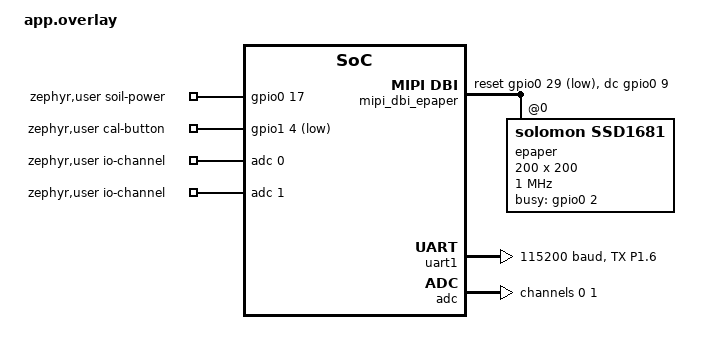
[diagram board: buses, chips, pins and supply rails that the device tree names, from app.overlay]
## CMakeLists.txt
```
# SPDX-License-Identifier: Apache-2.0

cmake_minimum_required(VERSION 3.20.0)
find_package(Zephyr REQUIRED HINTS $ENV{ZEPHYR_BASE})
project(HappyPot)

# Generated LVGL image arrays use a guarded include block that falls back to
# "lvgl/lvgl.h" unless one of LV_LVGL_H_INCLUDE_* is defined. Pick SIMPLE so
# they resolve to plain "lvgl.h", which Zephyr's LVGL module exposes.
zephyr_compile_definitions(LV_LVGL_H_INCLUDE_SIMPLE)

target_sources(app PRIVATE
	src/main.cpp
	src/calibration.cpp
	src/display_ui.cpp
	src/soil.cpp
	src/battery.cpp
	src/bthome_adv.cpp
	# Vendored SSD16XX display driver with PM support.
	# See src/drivers/README.md. Paired with CONFIG_SSD16XX=n.
	src/drivers/ssd16xx.c
	# Generated 1-bit LVGL image arrays. Regenerate with tools/svg_to_lvgl.py.
	src/ui_images/boot.c
	src/ui_images/cal_done.c
	src/ui_images/cal_dry.c
	src/ui_images/cal_reset.c
	src/ui_images/cal_wet.c
	src/ui_images/lowbat.c
	src/ui_images/s0_happy.c
	src/ui_images/s0_meh.c
	src/ui_images/s0_thirsty.c
	src/ui_images/s1_happy.c
	src/ui_images/s1_meh.c
	src/ui_images/s1_thirsty.c
)

# Header-only BTHome v2 payload builder (git submodule).
target_include_directories(app PRIVATE lib/bthome-cpp/src)
```

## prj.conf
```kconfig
CONFIG_GPIO=y
CONFIG_ADC=y

# Low-power UART logging mode:
# - keep UART log output
# - disable console/shell paths
# - immediate mode avoids periodic log-thread wakeups in sleep
CONFIG_SERIAL=y
CONFIG_BOARD_SERIAL_BACKEND_CDC_ACM=n
CONFIG_CONSOLE=y
CONFIG_UART_CONSOLE=y
CONFIG_SHELL=n
CONFIG_LOG=y
CONFIG_PRINTK=n
CONFIG_LOG_BACKEND_UART=y
CONFIG_LOG_MODE_IMMEDIATE=y
CONFIG_LOG_PROCESS_THREAD=n
CONFIG_USE_SEGGER_RTT=n
CONFIG_RTT_CONSOLE=n
CONFIG_LOG_BACKEND_RTT=n
CONFIG_BUILD_OUTPUT_UF2=y
CONFIG_BUILD_OUTPUT_UF2_FAMILY_ID="0xada52840"

CONFIG_CPP=y
CONFIG_STD_CPP17=y

# --- Step 2: e-paper display ---
# Note: regulator-boot-on is OFF in app.overlay, so the 3V3 rail stays down
# until we explicitly enable it. We still need REGULATOR for that API.
CONFIG_REGULATOR=y
CONFIG_REGULATOR_FIXED=y

# Device-level power management — lets us suspend the SSD1681 and SAADC
# between operations.
CONFIG_PM_DEVICE=y

CONFIG_SPI=y
CONFIG_MIPI_DBI=y
CONFIG_DISPLAY=y
# Use the vendored SSD16XX driver in src/drivers/ instead of the in-tree one
# (the project's copy adds PM_DEVICE / deep-sleep support).
CONFIG_SSD16XX=n

# --- LVGL ---
CONFIG_LVGL=y
CONFIG_LV_COLOR_DEPTH_1=y
CONFIG_LV_Z_BITS_PER_PIXEL=1
CONFIG_LV_Z_COLOR_MONO_HW_INVERSION=y
# SSD1681 only does full panel refresh; render the whole framebuffer every flush.
CONFIG_LV_Z_FULL_REFRESH=y
CONFIG_LV_Z_VDB_SIZE=100
CONFIG_LV_Z_MEM_POOL_SIZE=8192
# LVGL is driven on demand: we call lv_refr_now() from display_ui.cpp only when
# a reading actually changes the screen. The workqueue runner is OFF because it
# self-reschedules at CONFIG_LV_DEF_REFR_PERIOD (33 ms) forever, waking the SoC
# ~30x/s even on a static panel. With it off, nothing schedules LVGL between
# readings so the CPU sleeps the full measurement interval. The panel is powered
# continuously (see app.overlay) and the SSD16XX driver gates its own booster
# per refresh, so no per-refresh PM bracketing is needed here.
CONFIG_LV_Z_AUTO_INIT=y
CONFIG_LV_Z_RUN_LVGL_ON_WORKQUEUE=n
# With the LVGL workqueue off, the full-screen render runs on whichever thread
# calls lv_refr_now(): main (ui_init splash) and the system workqueue (the
# measurement work -> ui_show_reading). A 200x200 mono render + Montserrat-40
# rasterization needs ~4 KB, so size both to match the old LVGL workqueue stack.
# (Default 1024 overflows -> MPU fault -> white panel + stuck SoC.)
CONFIG_MAIN_STACK_SIZE=4096
CONFIG_SYSTEM_WORKQUEUE_STACK_SIZE=4096
# Fonts used by display_ui.cpp.
CONFIG_LV_FONT_MONTSERRAT_16=y
CONFIG_LV_FONT_MONTSERRAT_40=y

CONFIG_HEAP_MEM_POOL_SIZE=24576

# --- Soil calibration NVS + reboot ---
CONFIG_FLASH=y
CONFIG_FLASH_MAP=y
CONFIG_NVS=y
CONFIG_REBOOT=y

# --- BLE / BTHome v2 broadcaster ---
CONFIG_BT=y
CONFIG_BT_BROADCASTER=y
CONFIG_BT_PERIPHERAL=n
CONFIG_BT_OBSERVER=n
CONFIG_BT_DEVICE_NAME="HappyPot"
# Extended advertising API (bt_le_ext_adv_*). We use it with legacy PDUs so the
# payload update (set_data) doesn't stall the SoC awake until the next event,
# the way legacy bt_le_adv_update_data does.
CONFIG_BT_EXT_ADV=y
```

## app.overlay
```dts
/**
 * Overlay für WeAct Studio 1.54" 200x200 E-Paper (SSD1681)
 * angeschlossen an SPI2 des ProMicro nRF52840.
 *
 * Pinbelegung (bewährt aus früherem Arduino-Setup):
 *   SCK=P1.11  MOSI=P1.13  CS=P0.10  DC=P0.09  RST=P0.29
 *   BUSY=P0.02  POWER_EN=P0.13
 *
 * P0.09/P0.10 sind im Board-File UART0 -> UART0 wird deaktiviert.
 *
 * Zusätzlich: Capacitive Soil Moisture Sensor v2.0
 *   AOUT=P0.31 (AIN7), VCC=3V3, GND=GND
 */

#include <zephyr/dt-bindings/adc/adc.h>
#include <zephyr/dt-bindings/adc/nrf-saadc.h>
#include <zephyr/dt-bindings/regulator/nrf5x.h>

/** UART0 deaktivieren, damit P0.09/P0.10 fürs Display frei sind */
&uart0 {
	status = "disabled";
};

&pinctrl {
	uart1_default_alt: uart1_default_alt {
		group1 {
			/* TX-only on P1.06; RX disconnected so P1.04 is free. */
			psels = <NRF_PSEL(UART_TX, 1, 6)>,
				<NRF_PSEL_DISCONNECTED(UART_RX)>;
		};
	};

	uart1_sleep_alt: uart1_sleep_alt {
		group1 {
			psels = <NRF_PSEL(UART_TX, 1, 6)>,
				<NRF_PSEL_DISCONNECTED(UART_RX)>;
			low-power-enable;
		};
	};
};

&uart1 {
	current-speed = <115200>;
	pinctrl-0 = <&uart1_default_alt>;
	pinctrl-1 = <&uart1_sleep_alt>;
	pinctrl-names = "default", "sleep";
	status = "okay";
};

&spi2_default {
	group1 {
		psels = <NRF_PSEL(SPIM_SCK, 1, 11)>,
			<NRF_PSEL(SPIM_MOSI, 1, 13)>;
	};
};

&spi2_sleep {
	group1 {
		psels = <NRF_PSEL(SPIM_SCK, 1, 11)>,
			<NRF_PSEL(SPIM_MOSI, 1, 13)>;
		low-power-enable;
	};
};

&spi2 {
	cs-gpios = <&gpio0 10 GPIO_ACTIVE_LOW>;
};

/**
 * nRF52840 Haupt-Regler REG1 in den DC/DC-Buck-Modus statt LDO. Spart vor allem
 * Strom bei aktiver CPU/Funk (Refresh, BLE-TX). Setzt voraus, dass die DCC-
 * Induktivität auf dem Board bestückt ist (bei ProMicro/nice!nano i.d.R. ja).
 * Falls nicht -> Brownout/Reset -> diese Override wieder entfernen.
 */
&reg1 {
	regulator-initial-mode = <NRF5X_REG_MODE_DCDC>;
};

/ {
	chosen {
		zephyr,display = &epaper;
		zephyr,console = &uart1;
	};

	mipi_dbi_epaper {
		compatible = "zephyr,mipi-dbi-spi";
		spi-dev = <&spi2>;
		dc-gpios = <&gpio0 9 GPIO_ACTIVE_HIGH>;
		reset-gpios = <&gpio0 29 GPIO_ACTIVE_LOW>;
		#address-cells = <1>;
		#size-cells = <0>;

		epaper: ssd1681@0 {
			compatible = "solomon,ssd1681";
			mipi-max-frequency = <1000000>;
			reg = <0>;
			width = <200>;
			height = <200>;
			rotation = <270>;
			busy-gpios = <&gpio0 2 GPIO_ACTIVE_HIGH>;
			tssv = <0x80>;

			/**
			 * Leere Profile -> Treiber nutzt die Waveform-Defaults
			 * aus dem OTP-Speicher des Panels (wie GxEPD2_154_D67).
			 * Damit bleibt der VBD-Rand (Register 0x3C) auf Default
			 * statt schwarz.
			 *
			 * partial-Knoten ist wieder da: Die Schiene bleibt immer
			 * an (siehe ext_3v3), der Controller behält seinen alten
			 * Frame -> Partial-Refresh (schnell, kein Flash) möglich.
			 */
			full {
			};

			partial {
			};
		};
	};

	zephyr,user {
		io-channels = <&adc 0>, <&adc 1>;
		/** Soil sensor VCC is fed directly from P0.17 so it is only
		 * powered while sampling (~5 mA otherwise continuous). */
		soil-power-gpios = <&gpio0 17 GPIO_ACTIVE_HIGH>;
		/** Calibration button: press with probe in air (dry), press again
		 *  with probe submerged (wet).  Adjust pin to match hardware. */
		cal-button-gpios = <&gpio1 4 (GPIO_ACTIVE_LOW | GPIO_PULL_UP)>;
	};
};

&adc {
	status = "okay";
	#address-cells = <1>;
	#size-cells = <0>;

	channel@0 {
		reg = <0>;
		zephyr,gain = "ADC_GAIN_1_5";
		zephyr,reference = "ADC_REF_INTERNAL";
		zephyr,acquisition-time = <ADC_ACQ_TIME(ADC_ACQ_TIME_MICROSECONDS, 10)>;
		zephyr,input-positive = <NRF_SAADC_AIN7>;
		zephyr,resolution = <12>;
	};

	channel@1 {
		reg = <1>;
		zephyr,gain = "ADC_GAIN_1_6";
		zephyr,reference = "ADC_REF_INTERNAL";
		zephyr,acquisition-time = <ADC_ACQ_TIME(ADC_ACQ_TIME_MICROSECONDS, 10)>;
		/* Measure raw battery rail through SAADC's internal VDDH/5 path. */
		zephyr,input-positive = <NRF_SAADC_VDDHDIV5>;
		zephyr,resolution = <12>;
	};
};
```

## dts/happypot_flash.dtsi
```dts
/*
 * The flash map, shared by both builds -- because both run on the same board, on top of the same
 * bootloader, and there is only one truth about where things live.
 *
 *   0x00000000  MBR                    4 KB   part of the nice!nano bootloader, already on the chip
 *   0x00001000  code                 940 KB   the application
 *   0x000EC000  storage               32 KB   NVS/settings (calibration; Matter fabrics)
 *   0x000F4000  UF2 bootloader        48 KB   RESERVED -- Adafruit nRF52 bootloader + its settings
 *
 * No MCUboot: a plain single image linked at 0x1000, which is exactly where the bootloader starts
 * an app when no SoftDevice is present -- and none is. (Do not be misled by the "s140" in the
 * bootloader's name: it probes for a SoftDevice at boot, finds none, and falls back to 0x1000.
 * The /uf2 board variant, which links at 0x26000 for an SD-based layout, does NOT boot here.)
 *
 * The board's own map is the reason this file exists. Zephyr's promicro_nrf52840 (plain) pulls in
 * nrf52840_partition.dtsi, which describes a board we do not have: an MCUboot pair that nothing
 * uses, and -- the dangerous one -- a storage_partition INSIDE the bootloader's 0xF4000+ region.
 * HappyPot's calibration NVS lived exactly there (partition manager placed it at 0xFA000), so
 * every calibration save wrote into bootloader flash. That failure is silent: the device keeps
 * booting (the MBR just skips the now-invalid bootloader), only the USB drive never comes back.
 *
 * So the stock nodes are deleted and replaced, and the bootloader's 48 KB are left as a hole no
 * partition claims. Bounding the image is the other half of the guard and lives in
 * conf/happypot_hw.conf (CONFIG_FLASH_LOAD_SIZE) -- keep the two in step.
 */

/delete-node/ &boot_partition;
/delete-node/ &slot0_partition;
/delete-node/ &slot1_partition;
/delete-node/ &storage_partition;

/ {
	chosen {
		zephyr,code-partition = &code_partition;
	};
};

&flash0 {
	partitions {
		code_partition: partition@1000 {
			compatible = "zephyr,mapped-partition";
			label = "code";
			reg = <0x00001000 0x000eb000>;
		};

		storage_partition: partition@ec000 {
			compatible = "zephyr,mapped-partition";
			label = "storage";
			reg = <0x000ec000 0x00008000>;
		};
	};
};
```

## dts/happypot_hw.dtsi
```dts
/*
 * HappyPot's hardware, shared by both builds: the BTHome firmware (apps/bthome/app.overlay) and
 * the Matter build (apps/matter/boards/promicro_nrf52840_nrf52840.overlay). One description, so
 * the two cannot drift apart.
 *
 *   Soil probe -> capacitive v2.0, AOUT=P0.31 (AIN7), VCC gated by P0.17 (powered only while
 *                 sampling: ~5 mA otherwise continuous, and permanent bias corrodes the probe)
 *   Battery    -> SAADC internal VDDH/5 path (no external divider)
 *   Button     -> P1.04 (active-low, internal pull-up)
 *   E-Paper    -> WeAct Studio 1.54" 200x200 (SSD1681)
 *                 SPI2: SCK=P1.11, MOSI=P1.13, CS=P0.10
 *                 DC=P0.09, RST=P0.29, BUSY=P0.02 (active-high), 3V3 rail enable=P0.13
 *   Console    -> uart1, TX-only on P1.06 (uart0 is disabled: its default pins P0.09/P0.10
 *                 are the display's DC/CS)
 */

#include <zephyr/dt-bindings/adc/adc.h>
#include <zephyr/dt-bindings/adc/nrf-saadc.h>
#include <zephyr/dt-bindings/gpio/gpio.h>
#include <zephyr/dt-bindings/input/input-event-codes.h>
#include <zephyr/dt-bindings/regulator/nrf5x.h>

/* Where things live in flash -- and, above all, where the bootloader lives so nothing lands on it. */
#include "happypot_flash.dtsi"

/* Disable uart0 so P0.09/P0.10 are free for the display. */
&uart0 {
	status = "disabled";
};

&pinctrl {
	uart1_default_alt: uart1_default_alt {
		group1 {
			/* TX-only on P1.06; RX disconnected so P1.04 is free for the button. */
			psels = <NRF_PSEL(UART_TX, 1, 6)>,
				<NRF_PSEL_DISCONNECTED(UART_RX)>;
		};
	};

	uart1_sleep_alt: uart1_sleep_alt {
		group1 {
			psels = <NRF_PSEL(UART_TX, 1, 6)>,
				<NRF_PSEL_DISCONNECTED(UART_RX)>;
			low-power-enable;
		};
	};
};

&uart1 {
	current-speed = <115200>;
	pinctrl-0 = <&uart1_default_alt>;
	pinctrl-1 = <&uart1_sleep_alt>;
	pinctrl-names = "default", "sleep";
	status = "okay";
};

/* Remap SPI2 to the e-paper wiring: SCK=P1.11, MOSI=P1.13 (write-only, no MISO). */
&spi2_default {
	group1 {
		psels = <NRF_PSEL(SPIM_SCK, 1, 11)>,
			<NRF_PSEL(SPIM_MOSI, 1, 13)>;
	};
};

&spi2_sleep {
	group1 {
		psels = <NRF_PSEL(SPIM_SCK, 1, 11)>,
			<NRF_PSEL(SPIM_MOSI, 1, 13)>;
		low-power-enable;
	};
};

&spi2 {
	cs-gpios = <&gpio0 10 GPIO_ACTIVE_LOW>;
};

/*
 * Enable the REG1 DC/DC buck (default is LDO). ~2x more efficient than the LDO at the mA-level
 * active currents (refresh, BLE TX). Requires the on-module DCC inductor to be populated --
 * standard on ProMicro/nice!nano clones; if a board browns out on boot, remove this override.
 */
&reg1 {
	regulator-initial-mode = <NRF5X_REG_MODE_DCDC>;
};

/ {
	chosen {
		zephyr,display = &epaper;
		zephyr,console = &uart1;
	};

	keys: buttons {
		compatible = "gpio-keys";

		button0: button_0 {
			/* P1.04, pressed = LOW, enable internal pull-up */
			gpios = <&gpio1 4 (GPIO_ACTIVE_LOW | GPIO_PULL_UP)>;
			label = "User button";
			zephyr,code = <INPUT_KEY_0>;
		};
	};

	/*
	 * Turn the one button's raw press/release into a tap/hold pair. The driver emits
	 * ENTER on a short press (on release) and MENU the moment the hold threshold passes
	 * (while still held) -- so button.cpp only has to map two codes, not time the press.
	 */
	longpress: longpress {
		compatible = "zephyr,input-longpress";
		input = <&keys>;
		input-codes = <INPUT_KEY_0>;
		short-codes = <INPUT_KEY_ENTER>;
		long-codes = <INPUT_KEY_MENU>;
		long-delay-ms = <700>;
	};

	/* Nothing we build reads sw0 -- button.cpp goes through the input subsystem. It is here
	 * because it is the conventional name for "the button", and because NCS's DK library (which
	 * the Matter build deliberately does not enable) looks for it. */
	aliases {
		sw0 = &button0;
	};

	mipi_dbi_epaper {
		compatible = "zephyr,mipi-dbi-spi";
		spi-dev = <&spi2>;
		dc-gpios = <&gpio0 9 GPIO_ACTIVE_HIGH>;
		reset-gpios = <&gpio0 29 GPIO_ACTIVE_LOW>;
		#address-cells = <1>;
		#size-cells = <0>;

		epaper: ssd1681@0 {
			compatible = "solomon,ssd1681";
			mipi-max-frequency = <1000000>;
			reg = <0>;
			width = <200>;
			height = <200>;
			rotation = <270>;
			busy-gpios = <&gpio0 2 GPIO_ACTIVE_HIGH>;
			tssv = <0x80>;

			/*
			 * Empty profiles -> the driver uses the waveform defaults from the panel's OTP
			 * (like GxEPD2_154_D67). That keeps the VBD border (register 0x3C) on its default
			 * instead of black.
			 *
			 * The partial node stays: the rail is always on, the controller keeps its old
			 * frame -> partial refresh (fast, no black flash) is possible.
			 */
			full {
			};

			partial {
			};
		};
	};

	zephyr,user {
		io-channels = <&adc 0>, <&adc 1>;
		/* Soil sensor VCC is fed directly from P0.17 so it is only powered while
		 * sampling (~5 mA otherwise continuous). */
		soil-power-gpios = <&gpio0 17 GPIO_ACTIVE_HIGH>;
	};
};

&adc {
	status = "okay";
	#address-cells = <1>;
	#size-cells = <0>;

	channel@0 {
		reg = <0>;
		zephyr,gain = "ADC_GAIN_1_5";
		zephyr,reference = "ADC_REF_INTERNAL";
		zephyr,acquisition-time = <ADC_ACQ_TIME(ADC_ACQ_TIME_MICROSECONDS, 10)>;
		zephyr,input-positive = <NRF_SAADC_AIN7>;
		zephyr,resolution = <12>;
	};

	channel@1 {
		reg = <1>;
		zephyr,gain = "ADC_GAIN_1_6";
		zephyr,reference = "ADC_REF_INTERNAL";
		zephyr,acquisition-time = <ADC_ACQ_TIME(ADC_ACQ_TIME_MICROSECONDS, 10)>;
		/* Measure the raw battery rail through SAADC's internal VDDH/5 path. */
		zephyr,input-positive = <NRF_SAADC_VDDHDIV5>;
		zephyr,resolution = <12>;
	};
};
```

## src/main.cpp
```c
#include <zephyr/kernel.h>
#include <zephyr/device.h>
#include <zephyr/drivers/gpio.h>
#include <zephyr/pm/device.h>
#include <zephyr/logging/log.h>

#include "app_config.h"
#include "battery.h"
#include "bthome_adv.h"
#include "calibration.h"
#include "display_ui.h"
#include "soil.h"

LOG_MODULE_REGISTER(app, LOG_LEVEL_INF);

namespace
{
    const adc_dt_spec soil0_adc  = ADC_DT_SPEC_GET(DT_PATH(zephyr_user));
    const adc_dt_spec battery_adc = ADC_DT_SPEC_GET_BY_IDX(DT_PATH(zephyr_user), 1);
    const gpio_dt_spec soil0_pwr = GPIO_DT_SPEC_GET(DT_PATH(zephyr_user), soil_power_gpios);
    const gpio_dt_spec cal_btn   = GPIO_DT_SPEC_GET(DT_PATH(zephyr_user), cal_button_gpios);
    const struct device *const log_uart = DEVICE_DT_GET(DT_NODELABEL(uart1));

    SoilSensor    soil(soil0_adc, soil0_pwr, cfg::SOIL_MV_DRY, cfg::SOIL_MV_WET);
    BatteryMonitor battery(battery_adc);

    void set_log_uart_sleep(bool sleep)
    {
        if (!device_is_ready(log_uart))
        {
            return;
        }
        const pm_device_action action = sleep ? PM_DEVICE_ACTION_SUSPEND
                                               : PM_DEVICE_ACTION_RESUME;
        (void)pm_device_action_run(log_uart, action);
    }

    void measurement_cycle(struct k_work *);
    K_WORK_DELAYABLE_DEFINE(measurement_work, measurement_cycle);

    void sample_and_publish()
    {
        SoilReading soil_reading;
        if (auto err = soil.sample(&soil_reading); err < 0)
        {
            LOG_ERR("soil sample failed (%d)", err);
            return;
        }

        BatteryReading battery_reading;
        if (auto err = battery.sample(&battery_reading); err < 0)
        {
            LOG_ERR("battery sample failed (%d)", err);
            return;
        }

        LOG_INF("soil %4d mV  ~%3d %% | batt %4d mV  ~%3d %%",
                soil_reading.mv,
                soil_reading.percent,
                battery_reading.mv,
                battery_reading.percent);
        if (battery_reading.percent <= cfg::LOW_BATTERY_PCT)
        {
            ui_show_low_battery(battery_reading.percent);
        }
        else
        {
            ui_show_reading(soil_reading.mv, soil_reading.percent);
        }
        bthome_publish(soil_reading.percent, soil_reading.mv,
                       battery_reading.mv, battery_reading.percent);
    }

    void measurement_cycle(struct k_work *)
    {
        set_log_uart_sleep(false);
        sample_and_publish();
        set_log_uart_sleep(true);
        k_work_reschedule(&measurement_work, cfg::MEASUREMENT_INTERVAL);
    }

} // namespace

int main()
{
    set_log_uart_sleep(false);
    LOG_INF("UART1 TX test active on P1.06 @115200");

    if (soil.init() < 0)
    {
        LOG_ERR("soil init failed");
        return 0;
    }
    if (battery.init() < 0)
    {
        LOG_ERR("battery init failed");
        return 0;
    }
    if (ui_init() < 0)
    {
        LOG_ERR("ui init failed");
        return 0;
    }
    if (bthome_init() < 0)
    {
        LOG_ERR("bthome init failed");
        return 0;
    }
    if (calib_init(soil, cal_btn, &measurement_work) < 0)
    {
        LOG_WRN("calib init failed — running without calibration button");
    }

    /** Let the boot splash finish rendering (~3 s for a full SSD1681
     * refresh) before the first sample replaces it. */
    k_work_schedule(&measurement_work, K_SECONDS(4));
    set_log_uart_sleep(true);
    return 0;
}
```

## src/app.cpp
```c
#include "app.hpp"

#include <zephyr/device.h>
#include <zephyr/devicetree.h>
#include <zephyr/kernel.h>
#include <zephyr/logging/log.h>
#include <zephyr/pm/device.h>

#include "app_config.hpp"
#include "input/button.hpp"
#include "menu.hpp"
#include "net.hpp"
#include "prefs.hpp"
#include "sensors/battery.hpp"
#include "sensors/soil.hpp"
#include "ui/display_ui.hpp"
#include "version.hpp"

LOG_MODULE_REGISTER(app, LOG_LEVEL_INF);

namespace
{
	const struct device *const log_uart = DEVICE_DT_GET(DT_NODELABEL(uart1));

	void set_log_uart_sleep(bool sleep)
	{
		if (!device_is_ready(log_uart))
		{
			return;
		}
		const pm_device_action action = sleep ? PM_DEVICE_ACTION_SUSPEND
											  : PM_DEVICE_ACTION_RESUME;
		(void)pm_device_action_run(log_uart, action);
	}

	/** Read both sensors, put the numbers on screen, tell the network.
	 *
	 * The low battery is a resting view of its own; the reading still goes out either way --
	 * this is a beacon device, and the battery level is part of what it beacons. */
	void measure()
	{
		net::Reading r{};
		if (auto err = soil::sample(&r.soil); err < 0)
		{
			LOG_ERR("soil sample failed (%d)", err);
			ui::set_error("PROBE ERROR", "soil read failed");
			return;
		}
		if (auto err = battery::sample(&r.battery); err < 0)
		{
			LOG_ERR("battery sample failed (%d)", err);
			ui::set_error("BATTERY ERROR", "ADC read failed");
			return;
		}

		LOG_INF("soil %4d mV  ~%3d %% | batt %4d mV  ~%3d %%",
				r.soil.mv, r.soil.percent, r.battery.mv, r.battery.percent);

		ui::set_battery(r.battery.percent); // the menu's corner readout
		if (r.battery.percent <= cfg::LOW_BATTERY_PCT)
		{
			ui::set_low_battery();
		}
		else
		{
			ui::show_sensor();
			ui::set_sensor(r.soil.mv, r.soil.percent);
		}

		net::publish_reading(r);
	}

	/** The main app loop.
	 * @param menu_active true when run() opened the boot onboarding screen
	 *                    (menu::enter_network()) -- the loop then starts inside the menu,
	 *                    exactly as if the user had opened it */
	void app_loop(bool menu_active)
	{
		int64_t next_measure = k_uptime_get(); // the first one is due at once
		button::Event e = button::Event::None;

		while (true)
		{
			const int64_t now = k_uptime_get();

			set_log_uart_sleep(false);

			if (menu_active)
			{
				const menu::Status status = menu::proceed(e);
				if (status != menu::Status::Running)
				{
					if (status == menu::Status::FactoryReset && net::can_factory_reset())
					{
						// Leaves the screen as it is: the reset reboots us, and a device that
						// is about to lose its network should not spend its last second
						// drawing.
						LOG_INF("[UI] factory reset");
						net::factory_reset();
					}
					else
					{
						ui::show_sensor();
					}
					menu_active = false;
					next_measure = now;
				}
			}
			else if (e == button::Event::Long)
			{
				menu_active = true;
				menu::enter();
			}
			else if (now >= next_measure)
			{
				measure();
				next_measure = now + cfg::MEASUREMENT_MS;
			}

			// The one place the panel is committed. It paints only when a *displayed* value
			// changed -- the setters dedup on what the screen actually shows -- so most passes
			// end here without touching the e-paper. A refresh costs ~3 mAs.
			ui::refresh();

			// Whichever mode we are in has exactly one deadline. A deadline already in the
			// past makes the wait return at once, which is how leaving the menu gets its
			// reading without a second code path; the iteration that follows always pushes
			// next_measure, so this cannot spin.
			const int64_t wake_at = menu_active ? menu::deadline_ms() : next_measure;

			set_log_uart_sleep(true);
			e = button::wait_until(wake_at);

			if (e != button::Event::None)
			{
				set_log_uart_sleep(false);
				LOG_INF("[BTN] %s", (e == button::Event::Long) ? "hold" : "tap");
			}
		}
	}

} // namespace

void app::run(const char *build_name)
{
	set_log_uart_sleep(false);

	// What the panel needs. What the MENU offers is decided elsewhere -- it asks
	// net::has_radio() and net::can_factory_reset() -- because a row exists when there is
	// something behind it.
	const net::Radio *radio = net::radio();
	const ui::Config ui_cfg = {
		.build = build_name,
		.pair_qr = radio ? radio->pair_qr : nullptr,
		.pair_manual = radio ? radio->pair_manual : nullptr,
	};

	// Before the probe, because prefs only loads here. A store that will not come up is
	// survivable: getters answer the compile-time defaults and say so in the log.
	prefs::init();

	const bool display_ok = (ui::init(ui_cfg) == 0);

	LOG_INF("HappyPot v%s %s started (display %s)", HAPPYPOT_VERSION, build_name,
			display_ok ? "ok" : "FAILED");

	if (soil::init() < 0)
	{
		LOG_ERR("soil probe not ready");
		ui::set_error("PROBE ERROR", "soil probe not found");
		ui::refresh();
		k_sleep(K_FOREVER); // leave the error on screen
	}

	/* The stored calibration, put where it acts -- the first moment it can be, since the probe
	 * did not exist until now; the splash is still up, so nobody sees an uncalibrated reading. */
	prefs::apply_all();

	if (battery::init() < 0)
	{
		LOG_WRN("battery ADC not ready (continuing without it)");
	}
	if (button::init() < 0)
	{
		LOG_WRN("button not ready (continuing without it)");
	}
	ui::log_pool("boot splash"); // every view is built; this is the resident cost

	/* A device that has never joined anything boots straight into the pairing screen: the QR is
	 * the one thing a factory-new device is for, and the menu machinery already holds a screen
	 * without measuring. It leaves like any menu -- scanned or dismissed, on to the readings. */
	const bool show_code = net::has_radio() && net::radio()->pair_qr && !net::commissioned();
	if (show_code)
	{
		LOG_INF("[NET] not commissioned; the panel shows the onboarding code");
		menu::enter_network();
	}
	app_loop(show_code);
}
```

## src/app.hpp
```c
#pragma once

/** @file
 * The device: display, soil probe, battery, button and the loop tying them together.
 *
 * A module, not a main(): the BTHome firmware runs it as its only thread, the Matter build on a
 * thread of its own next to CHIP/OpenThread (apps/matter/src/app_task.cpp). Everything the loop
 * says to the world beyond the panel goes through net (net.hpp); a build that installs no hooks
 * there has no radio, and the loop never asks twice.
 *
 * The loop owns the panel: LVGL is not thread-safe, so nothing outside run()'s thread may touch
 * the UI. Other threads leave values where the loop picks them up (see net::set_link_up()).
 */
namespace app
{
	/** Bring up display, soil probe, battery and button, then run the device.
	 * @param build_name names this build on the splash and in the boot log -- the firmwares
	 *                   look alike everywhere else. Not copied. */
	void run(const char *build_name = "Standalone");
}
```

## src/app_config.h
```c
#pragma once

#include <zephyr/kernel.h>

namespace cfg
{
    /** Measurement interval. */
    constexpr k_timeout_t MEASUREMENT_INTERVAL = K_SECONDS(10);

    /** Rolling-average window. Smoothing horizon = WINDOW_SIZE * MEASUREMENT_INTERVAL. */
    constexpr int WINDOW_SIZE = 10;

    /** Capacitive soil probe calibration: measure DRY in air, WET submerged. */
    constexpr int32_t SOIL_MV_DRY = 2000;
    constexpr int32_t SOIL_MV_WET = 1500;

    /** Battery smoothing over the last N samples. */
    constexpr int BATTERY_WINDOW_SIZE = 6;

    /** Show dedicated low-battery warning screen at or below this percentage. */
    constexpr int LOW_BATTERY_PCT = 5;

    /** Mood thresholds. percent >= HAPPY_PCT -> happy; >= MEH_PCT -> meh;
     * below -> thirsty. */
    constexpr int MOOD_HAPPY_PCT = 60;
    constexpr int MOOD_MEH_PCT = 30;

    /** Firmware version, broadcast via BTHome (obj 0xF2, shown as MAJOR.MINOR.PATCH). */
    constexpr uint8_t FW_VERSION_MAJOR = 0;
    constexpr uint8_t FW_VERSION_MINOR = 1;
    constexpr uint8_t FW_VERSION_PATCH = 2;

} // namespace cfg
```

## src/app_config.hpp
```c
#pragma once

#include <stdint.h>

namespace cfg
{
    /** Measurement cadence, in milliseconds (the loop's TICK). */
    constexpr int64_t MEASUREMENT_MS = 10000;

    /** Rolling-average window. Smoothing horizon = WINDOW_SIZE * MEASUREMENT_MS. */
    constexpr int WINDOW_SIZE = 10;

    /** Capacitive soil probe calibration: measure DRY in air, WET submerged. */
    constexpr int32_t SOIL_MV_DRY = 2000;
    constexpr int32_t SOIL_MV_WET = 1500;

    /** Battery smoothing over the last N samples. */
    constexpr int BATTERY_WINDOW_SIZE = 6;

    /** Show dedicated low-battery warning screen at or below this percentage. */
    constexpr int LOW_BATTERY_PCT = 5;

    /** Mood thresholds. percent >= HAPPY_PCT -> happy; >= MEH_PCT -> meh;
     * below -> thirsty. */
    constexpr int MOOD_HAPPY_PCT = 60;
    constexpr int MOOD_MEH_PCT = 30;

    /* The firmware version lives in <repo>/VERSION -- see src/version.hpp. */

} // namespace cfg
```

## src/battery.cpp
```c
#include "battery.h"

#include <zephyr/logging/log.h>
#include <zephyr/pm/device.h>
#include <zephyr/sys/util.h>

LOG_MODULE_REGISTER(battery, LOG_LEVEL_INF);

namespace
{
	struct BatteryPoint
	{
		int32_t mv;
		int pct;
	};

	/** Typical single-cell Li-Ion open-circuit curve, piecewise-linearized. */
	constexpr BatteryPoint kCurve[] = {
		{3300, 0},
		{3600, 5},
		{3680, 10},
		{3740, 20},
		{3770, 30},
		{3790, 40},
		{3820, 50},
		{3870, 60},
		{3920, 70},
		{4000, 80},
		{4110, 90},
		{4200, 100},
	};
}

BatteryMonitor::BatteryMonitor(const adc_dt_spec &adc)
	: m_adc(adc)
{
}

int BatteryMonitor::init()
{
	if (!adc_is_ready_dt(&m_adc))
	{
		LOG_ERR("Battery ADC not ready");
		return -ENODEV;
	}

	const int err = adc_channel_setup_dt(&m_adc);
	if (err < 0)
	{
		LOG_ERR("Battery ADC channel setup failed (%d)", err);
		return err;
	}

	return 0;
}

int BatteryMonitor::read_raw_mv(int32_t *mv_out)
{
	pm_device_action_run(m_adc.dev, PM_DEVICE_ACTION_RESUME);

	int16_t raw = 0;
	adc_sequence seq{
		.buffer = &raw,
		.buffer_size = sizeof(raw),
	};
	int err = adc_sequence_init_dt(&m_adc, &seq);
	if (err == 0)
	{
		err = adc_read(m_adc.dev, &seq);
	}

	pm_device_action_run(m_adc.dev, PM_DEVICE_ACTION_SUSPEND);
	if (err < 0)
	{
		return err;
	}

	int32_t mv = raw;
	err = adc_raw_to_millivolts_dt(&m_adc, &mv);
	if (err < 0)
	{
		return err;
	}

	/* Internal SAADC channel provides VDDH/5, so scale back to cell voltage. */
	mv *= 5;

	*mv_out = mv;
	return 0;
}

int BatteryMonitor::mv_to_percent(int32_t mv) const
{
	if (mv <= kCurve[0].mv)
	{
		return 0;
	}
	if (mv >= kCurve[ARRAY_SIZE(kCurve) - 1].mv)
	{
		return 100;
	}

	for (size_t i = 1; i < ARRAY_SIZE(kCurve); ++i)
	{
		if (mv <= kCurve[i].mv)
		{
			const BatteryPoint lo = kCurve[i - 1];
			const BatteryPoint hi = kCurve[i];
			const int32_t num = (mv - lo.mv) * (hi.pct - lo.pct);
			const int32_t den = (hi.mv - lo.mv);
			return lo.pct + static_cast<int>(num / den);
		}
	}

	return 100;
}

int BatteryMonitor::sample(BatteryReading *out)
{
	int32_t mv = 0;
	if (const int err = read_raw_mv(&mv); err < 0)
	{
		return err;
	}

	const int32_t avg_mv = m_avg.push(mv);
	out->mv = avg_mv;
	out->percent = mv_to_percent(avg_mv);
	return 0;
}
```

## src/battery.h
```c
#pragma once

#include <stdint.h>
#include <zephyr/drivers/adc.h>

#include "app_config.h"
#include "rolling_average.h"

struct BatteryReading
{
	int32_t mv;
	int percent;
};

/** Battery monitor based on a dedicated ADC channel. */
class BatteryMonitor
{
public:
	explicit BatteryMonitor(const adc_dt_spec &adc);

	int init();
	int sample(BatteryReading *out);

private:
	int read_raw_mv(int32_t *mv_out);
	int mv_to_percent(int32_t mv) const;

	const adc_dt_spec &m_adc;
	RollingAverage<cfg::BATTERY_WINDOW_SIZE> m_avg;
};
```

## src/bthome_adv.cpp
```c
#include "bthome_adv.h"

#include <string.h>
#include <bthome.h> // bthome-cpp library (lib/bthome-cpp/src)
#include <zephyr/bluetooth/bluetooth.h>
#include <zephyr/kernel.h>
#include <zephyr/logging/log.h>

#include "app_config.h"

LOG_MODULE_REGISTER(bthome, LOG_LEVEL_INF);

namespace
{
	bt_le_ext_adv *adv = nullptr;
	uint8_t packet_counter = 0;

	const uint8_t flags = BT_LE_AD_GENERAL | BT_LE_AD_NO_BREDR;

	/** Advertising interval in 0.625 ms units. Only matters for the spacing
	 * within a multi-event burst; with num_events=1 a single event goes out. */
	constexpr uint16_t ADV_INTERVAL = 160;

	constexpr uint32_t FW_VERSION =
		(static_cast<uint32_t>(cfg::FW_VERSION_MAJOR) << 16) |
		(static_cast<uint32_t>(cfg::FW_VERSION_MINOR) << 8) |
		cfg::FW_VERSION_PATCH;

	/** Set the payload and emit exactly one advertising event (1 TX per primary
	 * channel), then the controller auto-stops. ext-adv set_data is non-blocking
	 * so the SoC sleeps right after the event. */
	int advertise_once(const bt_data *ad, size_t n)
	{
		int err = bt_le_ext_adv_set_data(adv, ad, n, nullptr, 0);
		if (err)
		{
			LOG_WRN("ext_adv_set_data failed (%d)", err);
			return err;
		}
		const bt_le_ext_adv_start_param start_param = {
			.timeout = 0,
			.num_events = 1,
		};
		err = bt_le_ext_adv_start(adv, &start_param);
		if (err)
		{
			LOG_WRN("ext_adv_start failed (%d)", err);
		}
		return err;
	}

} // namespace

int bthome_init(void)
{
	int err = bt_enable(nullptr);
	if (err)
	{
		LOG_ERR("bt_enable failed (%d)", err);
		return err;
	}

	/** Legacy PDU (no EXT_ADV opt) so phones/HA can read it, non-connectable,
	 * pinned to the stable identity address. */
	const bt_le_adv_param adv_param = BT_LE_ADV_PARAM_INIT(
		BT_LE_ADV_OPT_USE_IDENTITY,
		ADV_INTERVAL, ADV_INTERVAL, nullptr);
	err = bt_le_ext_adv_create(&adv_param, nullptr, &adv);
	if (err)
	{
		LOG_ERR("ext_adv_create failed (%d)", err);
		return err;
	}

	LOG_INF("BT ready, BTHome v2 broadcaster");
	return 0;
}

int bthome_publish(int moisture_percent, int32_t soil_mv, int32_t battery_mv, int battery_percent)
{
	if (moisture_percent < 0)
	{
		moisture_percent = 0;
	}
	if (moisture_percent > 100)
	{
		moisture_percent = 100;
	}
	if (battery_percent < 0)
	{
		battery_percent = 0;
	}
	if (battery_percent > 100)
	{
		battery_percent = 100;
	}

	++packet_counter;

	BTHomePacket<31> packet;
	packet.add(BTHome::packet_id(packet_counter));
	packet.add(BTHome::moisture(static_cast<float>(moisture_percent)));
	packet.add(BTHome::battery(battery_percent));
	/** Both voltages always go in the same packet so a single advert carries the
	 * full reading: voltage = battery (V), voltage_c1 = soil ADC (V). */
	packet.add(BTHome::voltage(battery_mv / 1000.0f));
	packet.add(BTHome::voltage(soil_mv / 1000.0f));

	const bt_data svc = BT_DATA(BT_DATA_SVC_DATA16, packet.serviceData(), static_cast<uint8_t>(packet.serviceDataSize()));
	const bt_data flags_ad = BT_DATA(BT_DATA_FLAGS, &flags, sizeof(flags));

	/** Alternate the extra field only: odd (1st, 3rd, ...) -> name (no fw),
	 * even -> fw (no name). The 31-byte legacy advert can't hold both extras
	 * on top of the always-present measurements. */
	const bool with_name = (packet_counter % 2) == 1;
	if (!with_name)
	{
		packet.add(BTHome::firmware_version_u24(FW_VERSION));
	}
	else
	{

		const char *name = bt_get_name();
		const bt_data ad[] = {
			flags_ad,
			svc,
			BT_DATA(BT_DATA_NAME_COMPLETE, name, static_cast<uint8_t>(strlen(name))),
		};
		return advertise_once(ad, ARRAY_SIZE(ad));
	}

	const bt_data ad[] = {flags_ad, svc};
	return advertise_once(ad, ARRAY_SIZE(ad));
}
```

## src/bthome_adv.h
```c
#pragma once

#include <stdint.h>

/** Bring up the BLE stack as a non-connectable broadcaster. Call once at boot
 * after the kernel is up. Returns 0 on success, negative errno otherwise. */
int bthome_init(void);

/** Build a BTHome v2 advertisement (packet ID + moisture + battery + voltages)
 * using the bthome-cpp library, broadcast it for a short window across all
 * three advertising channels, then stop. Blocks ~300 ms.
 */
int bthome_publish(int moisture_percent, int32_t soil_mv, int32_t battery_mv, int battery_percent);
```

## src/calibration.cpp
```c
#include "calibration.h"

#include <zephyr/drivers/flash.h>
#include <zephyr/drivers/gpio.h>
#include <zephyr/fs/nvs.h>
#include <zephyr/kernel.h>
#include <zephyr/logging/log.h>
#include <zephyr/pm/device.h>
#include <zephyr/storage/flash_map.h>
#include <zephyr/sys/reboot.h>

#include "app_config.h"
#include "display_ui.h"

LOG_MODULE_REGISTER(calib, LOG_LEVEL_INF);

// ---------------------------------------------------------------------------
// Module state — written once by calib_init, then read-only
// ---------------------------------------------------------------------------

static SoilSensor *s_soil = nullptr;
static const gpio_dt_spec *s_btn = nullptr;
static k_work_delayable *s_resume = nullptr;

static const struct device *const s_log_uart = DEVICE_DT_GET(DT_NODELABEL(uart1));

static void uart_wake()
{
    if (device_is_ready(s_log_uart))
        pm_device_action_run(s_log_uart, PM_DEVICE_ACTION_RESUME);
}

static void uart_sleep()
{
    if (device_is_ready(s_log_uart))
        pm_device_action_run(s_log_uart, PM_DEVICE_ACTION_SUSPEND);
}

// ---------------------------------------------------------------------------
// NVS
// ---------------------------------------------------------------------------

#define CALIB_NVS_ID_DRY 1
#define CALIB_NVS_ID_WET 2

static struct nvs_fs calib_fs;
static bool calib_fs_ready = false;

static void nvs_load()
{
    const struct device *dev = FIXED_PARTITION_DEVICE(storage_partition);
    if (!device_is_ready(dev))
    {
        LOG_WRN("flash not ready, using compile-time defaults");
        return;
    }

    struct flash_pages_info page;
    if (flash_get_page_info_by_offs(dev, FIXED_PARTITION_OFFSET(storage_partition),
                                    &page) < 0)
    {
        LOG_WRN("flash page query failed");
        return;
    }

    calib_fs.flash_device = dev;
    calib_fs.offset = FIXED_PARTITION_OFFSET(storage_partition);
    calib_fs.sector_size = page.size;
    calib_fs.sector_count = FIXED_PARTITION_SIZE(storage_partition) / page.size;

    if (nvs_mount(&calib_fs) < 0)
    {
        LOG_WRN("NVS mount failed, using compile-time defaults");
        return;
    }
    calib_fs_ready = true;

    int32_t dry = cfg::SOIL_MV_DRY;
    int32_t wet = cfg::SOIL_MV_WET;
    bool stored = false;
    if (nvs_read(&calib_fs, CALIB_NVS_ID_DRY, &dry, sizeof(dry)) == sizeof(dry))
    {
        stored = true;
    }
    if (nvs_read(&calib_fs, CALIB_NVS_ID_WET, &wet, sizeof(wet)) == sizeof(wet))
    {
        stored = true;
    }

    if (stored && dry != wet)
    {
        s_soil->set_calibration(dry, wet);
        LOG_INF("calibration loaded: dry=%d mV  wet=%d mV", dry, wet);
    }
    else if (stored)
    {
        LOG_WRN("invalid calibration in NVS (dry==wet=%d), clearing", dry);
        nvs_write(&calib_fs, CALIB_NVS_ID_DRY, &dry, 0);
        nvs_write(&calib_fs, CALIB_NVS_ID_WET, &wet, 0);
        LOG_INF("using defaults: dry=%d mV  wet=%d mV",
                cfg::SOIL_MV_DRY, cfg::SOIL_MV_WET);
    }
    else
    {
        LOG_INF("no stored calibration, using defaults: dry=%d mV  wet=%d mV",
                cfg::SOIL_MV_DRY, cfg::SOIL_MV_WET);
    }
}

static void nvs_save()
{
    if (!calib_fs_ready)
        return;
    int32_t dry = s_soil->dry_mv();
    int32_t wet = s_soil->wet_mv();
    nvs_write(&calib_fs, CALIB_NVS_ID_DRY, &dry, sizeof(dry));
    nvs_write(&calib_fs, CALIB_NVS_ID_WET, &wet, sizeof(wet));
}

// ---------------------------------------------------------------------------
// Calibration thread
// Hold 0.5–2 s  → WET   Hold 2–4 s → DRY
// Hold 4–6 s   → RESET  Hold 6 s+  → auto-cancel (returns to main)
// ---------------------------------------------------------------------------

constexpr int64_t CAL_MIN_HOLD_MS = 500;
constexpr int64_t CAL_PHASE_DRY_MS = 2000;
constexpr int64_t CAL_PHASE_RST_MS = 4000;
constexpr int64_t CAL_PHASE_CANCEL_MS = 6000;

enum class CalMode
{
    NONE,
    WET,
    DRY,
    RESET,
};

static K_SEM_DEFINE(s_ready, 0, 1);

static void calib_thread_fn(void *, void *, void *)
{
    k_sem_take(&s_ready, K_FOREVER);

    while (true)
    {
        // Wait for button press. gpio_pin_get_dt returns 1 when active (pressed).
        while (gpio_pin_get_dt(s_btn) == 0)
            k_msleep(20);

        int64_t t0 = k_uptime_get();
        CalMode phase = CalMode::NONE;

        k_work_cancel_delayable(s_resume);
        uart_wake();

        // Poll while held, updating display on each phase change.
        bool auto_cancelled = false;
        while (gpio_pin_get_dt(s_btn) != 0)
        {
            int64_t held = k_uptime_get() - t0;
            if (held >= CAL_PHASE_CANCEL_MS)
            {
                LOG_INF(">> auto-cancel");
                ui_exit_calibration();
                uart_sleep();
                k_work_reschedule(s_resume, K_NO_WAIT);
                while (gpio_pin_get_dt(s_btn) != 0)
                    k_msleep(20);
                auto_cancelled = true;
                break;
            }
            CalMode p = (held < CAL_MIN_HOLD_MS)    ? CalMode::NONE
                        : (held < CAL_PHASE_DRY_MS) ? CalMode::WET
                        : (held < CAL_PHASE_RST_MS) ? CalMode::DRY
                                                    : CalMode::RESET;
            if (p != phase)
            {
                phase = p;
                const char *lbl = (p == CalMode::WET)    ? "WET"
                                  : (p == CalMode::DRY)  ? "DRY"
                                  : (p == CalMode::RESET) ? "RESET"
                                                          : nullptr;
                if (lbl)
                {
                    LOG_INF(">> %s", lbl);
                    ui_show_calibration_step(lbl);
                }
            }
            k_msleep(50);
        }
        if (auto_cancelled)
            continue;

        // Short press — return to main loop.
        if (phase == CalMode::NONE)
        {
            uart_sleep();
            k_work_reschedule(s_resume, K_NO_WAIT);
            continue;
        }

        if (phase == CalMode::RESET)
        {
            s_soil->set_calibration(cfg::SOIL_MV_DRY, cfg::SOIL_MV_WET);
            nvs_save();
            LOG_INF("reset: dry=%d mV  wet=%d mV — rebooting",
                    cfg::SOIL_MV_DRY, cfg::SOIL_MV_WET);
            sys_reboot(SYS_REBOOT_COLD);
        }

        // WET or DRY: one read with the normal power-on/settle/off cycle.
        const bool is_wet = (phase == CalMode::WET);
        LOG_INF("entered %s calibration", is_wet ? "wet" : "dry");

        int32_t mv;
        if (s_soil->sample_raw(&mv) != 0)
        {
            LOG_WRN("read failed, aborting");
            uart_sleep();
            k_work_reschedule(s_resume, K_NO_WAIT);
            continue;
        }

        if (is_wet)
            s_soil->set_calibration(s_soil->dry_mv(), mv);
        else
            s_soil->set_calibration(mv, s_soil->wet_mv());
        nvs_save();

        if (is_wet)
            LOG_INF("saved wet: %d mV  (dry=%d mV)", mv, s_soil->dry_mv());
        else
            LOG_INF("saved dry: %d mV  (wet=%d mV)", mv, s_soil->wet_mv());
        uart_sleep();

        ui_show_calibration_step(is_wet ? "WET" : "DRY", mv);
        k_work_reschedule(s_resume, K_SECONDS(3));
    }
}

K_THREAD_DEFINE(calib_tid, 4096, calib_thread_fn, NULL, NULL, NULL,
                K_PRIO_PREEMPT(5), 0, 0);

// ---------------------------------------------------------------------------
// Public API
// ---------------------------------------------------------------------------

int calib_init(SoilSensor &soil, const gpio_dt_spec &btn,
               k_work_delayable *resume_work)
{
    s_soil = &soil;
    s_btn = &btn;
    s_resume = resume_work;

    nvs_load();

    if (!gpio_is_ready_dt(&btn))
    {
        LOG_ERR("button GPIO not ready");
        return -ENODEV;
    }
    int err = gpio_pin_configure_dt(&btn, GPIO_INPUT);
    if (err < 0)
        return err;

    k_sem_give(&s_ready);
    LOG_INF("ready on pin %d", btn.pin);
    return 0;
}
```

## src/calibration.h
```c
#pragma once

#include <zephyr/drivers/gpio.h>
#include <zephyr/kernel.h>

#include "soil.h"

/**
 * Initialise the calibration subsystem.
 *
 * Loads any previously stored calibration from NVS into @p soil, then arms
 * the button hold-to-calibrate state machine:
 *
 *   Hold 0–2 s  → release → WET calibration  (sample 5 s, save)
 *   Hold 2–4 s  → release → DRY calibration  (sample 5 s, save)
 *   Hold 4 s+   → release → RESET to compile-time defaults
 *
 * @param soil         Probe instance whose calibration points are updated.
 * @param btn          Button GPIO spec (ACTIVE_LOW | PULL_UP assumed).
 * @param resume_work  Delayable work rescheduled after calibration finishes
 *                     (the caller's periodic measurement work).
 * @return 0 on success, negative errno on failure.
 */
int calib_init(SoilSensor &soil, const gpio_dt_spec &btn,
               k_work_delayable *resume_work);
```

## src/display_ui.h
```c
#pragma once

#include <stdint.h>

int ui_init(void);

/** Repaint with the latest reading. No-op if neither the percent nor the
 * resolved icon has changed. */
int ui_show_reading(int32_t mv, int percent);

/** Show dedicated low-battery warning screen. */
int ui_show_low_battery(int battery_percent);

/** Show a calibration step label with an optional captured mV value.
 *  The next call to ui_show_reading() restores the normal view. */
void ui_show_calibration_step(const char *label, int32_t mv);
void ui_show_calibration_step(const char *label);

/** Immediately restore the normal reading screen (used when calibration is
 *  cancelled while still held). */
void ui_exit_calibration();
```
